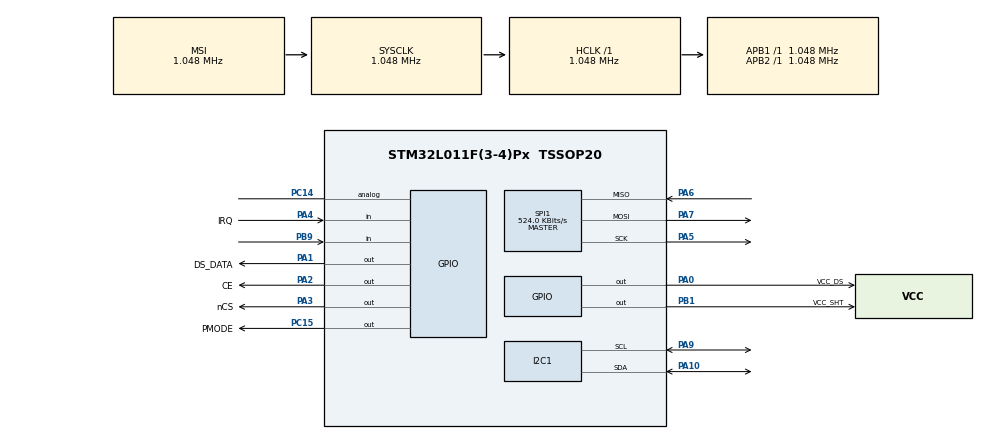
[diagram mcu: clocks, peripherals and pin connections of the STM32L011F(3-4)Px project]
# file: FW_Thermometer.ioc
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CRC.CRCLength=CRC_POLYLENGTH_8B
CRC.DefaultInitValueUse=DEFAULT_INIT_VALUE_DISABLE
CRC.DefaultPolynomialUse=DEFAULT_POLYNOMIAL_DISABLE
CRC.GeneratingPolynomial=X5+X4+X0
CRC.InitValue=0x0
CRC.OutputDataInversionMode=CRC_OUTPUTDATA_INVERSION_DISABLE
I2C1.Timing=0x00000202
Mcu.Family=STM32L0
Mcu.Name=STM32L011F(3-4)Px
Mcu.Package=TSSOP20
NVIC.RTC_IRQn=true\:0\:0\:false\:false\:true\:true\:true\:true
PA0-CK_IN.GPIO_Label=VCC_DS
PA0-CK_IN.Signal=GPIO_Output
PA1.GPIO_Label=DS_DATA
PA1.Signal=GPIO_Output
PA10.GPIO_Pu=GPIO_PULLUP
PA10.Mode=I2C
PA10.Signal=I2C1_SDA
PA13.Mode=Serial_Wire
PA13.Signal=SYS_SWDIO
PA14.Mode=Serial_Wire
PA14.Signal=SYS_SWCLK
PA2.GPIO_Label=CE
PA2.Signal=GPIO_Output
PA3.GPIO_Label=nCS
PA3.Signal=GPIO_Output
PA4.GPIO_Label=IRQ
PA4.Signal=GPIO_Input
PA5.Mode=Full_Duplex_Master
PA5.Signal=SPI1_SCK
PA6.Mode=Full_Duplex_Master
PA6.Signal=SPI1_MISO
PA7.Mode=Full_Duplex_Master
PA7.Signal=SPI1_MOSI
PA9.GPIO_Pu=GPIO_PULLUP
PA9.Mode=I2C
PA9.Signal=I2C1_SCL
PB1.GPIO_Label=VCC_SHT
PB1.Signal=GPIO_Output
PB9-BOOT0.Signal=GPIO_Input
PC14-OSC32_IN.Signal=GPIO_Analog
PC15-OSC32_OUT.GPIO_Label=PMODE
PC15-OSC32_OUT.Signal=GPIO_Output
ProjectManager.HeapSize=0x200
ProjectManager.StackSize=0x400
ProjectManager.TargetToolchain=STM32CubeIDE
RCC.ADCFreq_Value=4000000
RCC.AHBFreq_Value=1048000
RCC.APB1Freq_Value=1048000
RCC.APB1TimFreq_Value=1048000
RCC.APB2Freq_Value=1048000
RCC.APB2TimFreq_Value=1048000
RCC.HCLKFreq_Value=1048000
RCC.HSE_VALUE=8000000
RCC.HSI16_VALUE=16000000
RCC.HSIRCDiv=4
RCC.HSI_VALUE=4000000
RCC.LSE_VALUE=32768
RCC.MSIClockRange=RCC_MSIRANGE_4
RCC.MSI_VALUE=1048000
RCC.PWR_Regulator_Voltage_Scale=PWR_REGULATOR_VOLTAGE_SCALE2
RCC.SYSCLKFreq_VALUE=1048000
RCC.VCOOutputFreq_Value=12000000
RCC.VDD_VALUE=2
RTC.WakeUpClock-WakeUp=RTC_WAKEUPCLOCK_CK_SPRE_16BITS
RTC.WakeUpCounter-WakeUp=600
SPI1.CalculateBaudRate=524.0 KBits/s
SPI1.Direction=SPI_DIRECTION_2LINES
SPI1.Mode=SPI_MODE_MASTER
SPI1.VirtualType=VM_MASTER
SYS.PVDLevel=PWR_PVDLEVEL_2
VP_CRC_VS_CRC.Mode=CRC_Activate
VP_RTC_VS_RTC_Activate.Mode=RTC_Enabled
VP_RTC_VS_RTC_WakeUp_intern.Mode=WakeUp
VP_SYS_V_PVD_IN.Mode=Mode_PVD_Int
board=custom

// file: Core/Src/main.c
/* USER CODE BEGIN Header */
/**
  ******************************************************************************
  * @file           : main.c
  * @brief          : Main program body
  ******************************************************************************
  * @attention
  *
  * <h2><center>&copy; Copyright (c) 2019 STMicroelectronics.
  * All rights reserved.</center></h2>
  *
  * This software component is licensed by ST under BSD 3-Clause license,
  * the "License"; You may not use this file except in compliance with the
  * License. You may obtain a copy of the License at:
  *                        opensource.org/licenses/BSD-3-Clause
  *
  ******************************************************************************
  */
/*
 * !!!!! BUG IN CUBE CODE GENERATOR !!!!!!!!!!!!
 * !!!!! BUG IN CUBE CODE GENERATOR !!!!!!!!!!!!
 * !!!!! BUG IN CUBE CODE GENERATOR !!!!!!!!!!!!
 * !!!!! BUG IN CUBE CODE GENERATOR !!!!!!!!!!!!
 * !!!!! BUG IN CUBE CODE GENERATOR !!!!!!!!!!!!
 * It looks like the file system_stm32l0xx.c is copied twice to te project folders
 * whenever regenerating code, and therefore the generated code does not compile.
 * Solution: Delete it form ./Core/Src after every code regeneration (whenever
 * using CubeMX configuration wizzard)
 *
 *
 * */

/* USER CODE END Header */
#include "main.h"

/* USER CODE BEGIN Includes */
#include "nrf24.h"
#include <stdio.h>
#include <stdlib.h>
/* USER CODE END Includes */

 CRC_HandleTypeDef hcrc;

I2C_HandleTypeDef hi2c1;

RTC_HandleTypeDef hrtc;

SPI_HandleTypeDef hspi1;

void SystemClock_Config(void);
static void MX_GPIO_Init(void);
static void MX_CRC_Init(void);
static void MX_I2C1_Init(void);
static void MX_RTC_Init(void);
static void MX_SPI1_Init(void);

/* USER CODE BEGIN 0 */

#define SHT21_ADDRESS 0x80  //I2C address for the sensor
#define TRIGGER_TEMP_MEASURE_NOHOLD  0xF3
#define TRIGGER_HUMD_MEASURE_NOHOLD  0xF5

int16_t GetSHT21measurement(uint8_t command)
{
	uint8_t i2cmsg[3], crc;
	uint32_t	t1;
	int16_t result;
	static int transmission_counter;
	HAL_StatusTypeDef	i2cStatus = HAL_ERROR;

	//Measure
	i2cmsg[0]=command;
	i2cStatus = HAL_I2C_Master_Transmit(&hi2c1, SHT21_ADDRESS, i2cmsg, 1, 10);
	//Temperature conversion takes up to 85ms, while humidity 29ms.
	t1 = HAL_GetTick();
	transmission_counter=0;
	i2cStatus = HAL_ERROR;
	while (i2cStatus != HAL_OK)
	{
		HAL_Delay(5);
		i2cStatus = HAL_I2C_Master_Receive(&hi2c1, SHT21_ADDRESS, i2cmsg, 3, 10);
		if (i2cStatus == HAL_OK)
		{
			transmission_counter++;
			MX_CRC_Init();
			crc = HAL_CRC_Calculate (&hcrc, (uint32_t*)i2cmsg, 2);
			HAL_CRC_DeInit(&hcrc);
			if (crc == i2cmsg[2])	// if crc OK, continue, else repeat transmission
			{
				break;
			}
			else
			{
				i2cStatus = HAL_ERROR;
			}
		}
		if (HAL_GetTick()-t1>150) break;
	}
	result=((int)i2cmsg[0]<<8) | (i2cmsg[1] & (~0x03));

	if (i2cStatus != HAL_OK) result = 0xFFFF;

	return result;
}

uint16_t i16Temp, i16Hum;
//Temperature conversion (for debug): -46.85+175.72*i16Temp/65536
//Relative humidity conv.(for debug): -6+125*i16Hum/65536.0
void ReadSHT21(void)
{
	//Turn on power supply for the SHT11 sensor
	HAL_GPIO_WritePin(VCC_SHT_GPIO_Port,VCC_SHT_Pin,GPIO_PIN_SET);
  MX_I2C1_Init();
	HAL_Delay(20);	//Startup takes a minimum of 15ms

	i16Temp = GetSHT21measurement(TRIGGER_TEMP_MEASURE_NOHOLD);
	i16Hum = GetSHT21measurement(TRIGGER_HUMD_MEASURE_NOHOLD);
	//Measure humidity

	//Turn off I2C and SHT power
	HAL_I2C_DeInit(&hi2c1);
	//HAL_GPIO_WritePin(VCC_SHT_GPIO_Port,VCC_SHT_Pin,GPIO_PIN_RESET);
	HAL_GPIO_DeInit(VCC_SHT_GPIO_Port, VCC_SHT_Pin);	//Should go into Analog input mode
}

uint8_t Vdd;
void MeasureVDD(void)
{
	Vdd=19;

	PWR_PVDTypeDef	PVDcfg;
	PVDcfg.Mode=PWR_PVD_MODE_NORMAL;	//No event, no interrupt?
	PVDcfg.PVDLevel=PWR_PVDLEVEL_0;	//0=1.9V, 1=2.1V, 2=2.3V, ... 6=3.1V, 7=ext

	HAL_PWR_ConfigPVD(&PVDcfg);
	HAL_PWR_EnablePVD();

	if (!__HAL_PWR_GET_FLAG(PWR_FLAG_PVDO) )
	{
		PVDcfg.PVDLevel=PWR_PVDLEVEL_1;	//0=1.9V, 1=2.1V, 2=2.3V, ... 6=3.1V, 7=ext
		HAL_PWR_ConfigPVD(&PVDcfg);
		Vdd+=2;
		if (!__HAL_PWR_GET_FLAG(PWR_FLAG_PVDO) )
		{
			PVDcfg.PVDLevel=PWR_PVDLEVEL_2;	//0=1.9V, 1=2.1V, 2=2.3V, ... 6=3.1V, 7=ext
			HAL_PWR_ConfigPVD(&PVDcfg);
			Vdd+=2;
			if (!__HAL_PWR_GET_FLAG(PWR_FLAG_PVDO) )
			{
				PVDcfg.PVDLevel=PWR_PVDLEVEL_3;	//0=1.9V, 1=2.1V, 2=2.3V, ... 6=3.1V, 7=ext
				HAL_PWR_ConfigPVD(&PVDcfg);
				Vdd+=2;
				if (!__HAL_PWR_GET_FLAG(PWR_FLAG_PVDO) )
				{
					PVDcfg.PVDLevel=PWR_PVDLEVEL_4;	//0=1.9V, 1=2.1V, 2=2.3V, ... 6=3.1V, 7=ext
					HAL_PWR_ConfigPVD(&PVDcfg);
					Vdd+=2;
					if (!__HAL_PWR_GET_FLAG(PWR_FLAG_PVDO) )
					{
						PVDcfg.PVDLevel=PWR_PVDLEVEL_5;	//0=1.9V, 1=2.1V, 2=2.3V, ... 6=3.1V, 7=ext
						HAL_PWR_ConfigPVD(&PVDcfg);
						Vdd+=2;
						if (!__HAL_PWR_GET_FLAG(PWR_FLAG_PVDO) )
						{
							PVDcfg.PVDLevel=PWR_PVDLEVEL_6;	//0=1.9V, 1=2.1V, 2=2.3V, ... 6=3.1V, 7=ext
							HAL_PWR_ConfigPVD(&PVDcfg);
							Vdd+=2;
						}
					}
				}
			}
		}
	}
	HAL_PWR_DisablePVD();
}

uint8_t tx_address[5] = NRF24_TX_ADDRESS;
uint8_t rx_address[5] = NRF24_RX_ADDRESS;

uint8_t TransmitPacket(uint8_t ID, uint16_t data, uint8_t rtrCount)
{
	RTC_TimeTypeDef sTime;
	uint8_t transmissionStatus;
	uint8_t data_array[5];
	uint32_t t1;

	data_array[0] = ID;
	data_array[1] = data>>8;
	data_array[2] = data;
	data_array[3] = Vdd;
	data_array[4] = rtrCount;

	nrf24_send(data_array);
	t1 = HAL_GetTick();
	while(nrf24_isSending())
	{
		if ( (HAL_GetTick()-t1) > 200 ) break;	//Needed if NRF disconnected
	}
	transmissionStatus = nrf24_lastMessageStatus();
	rtrCount = nrf24_retransmissionCount();

	if(transmissionStatus == NRF24_TRANSMISSON_OK)
	{
		//All OK. Nothing to do.
	}
	else if(transmissionStatus == NRF24_MESSAGE_LOST)
	{
		//In case of error wait 100 to 200 ms and try again.
		//If it fails again, the packet will be permanently lost.
		HAL_GPIO_WritePin(VCC_DS_GPIO_Port,VCC_DS_Pin|DS_DATA_Pin,GPIO_PIN_RESET);
//		srand(HAL_GetTick());
//		HAL_Delay((rand() % 100) + 100); //randomize	//Random functions from GNU library take about 5kB of FLASH!!! A huge problem for such a small processor!
		HAL_RTC_GetTime(&hrtc, &sTime, RTC_FORMAT_BIN);	//Use RTC function to hopefully achieve some kind of randomization
		HAL_Delay((((sTime.Hours*3600+sTime.Minutes*60+sTime.Seconds)*256+sTime.SubSeconds) % 100) + 100); //randomize
		HAL_GPIO_WritePin(VCC_DS_GPIO_Port,VCC_DS_Pin|DS_DATA_Pin,GPIO_PIN_SET);
		nrf24_init();
		nrf24_config(2,5); 	// Channel #2 , payload length: 4
		nrf24_tx_address(tx_address);// Set the device addresses
		nrf24_rx_address(rx_address);
		nrf24_send(data_array);
		t1 = HAL_GetTick();
		while(nrf24_isSending())
		{
			if ( (HAL_GetTick()-t1) > 200 ) break;	//Needed if NRF disconnected
		}
		rtrCount = nrf24_retransmissionCount()+15;
	}
	else
	{
		//TODO: check if there can be any other kind of status
	}

	return rtrCount;
}

void TransmitData(void)
{
	static uint8_t retransmissionCount=0;	//always send retransmission count of the previous transmission

	HAL_GPIO_WritePin(VCC_DS_GPIO_Port,VCC_DS_Pin|DS_DATA_Pin,GPIO_PIN_SET);
	MX_SPI1_Init();

	nrf24_init();
	nrf24_config(NRF24_RF_CHANNEL,5); 	// Channel defined in main.h , payload length: 5
	nrf24_tx_address(tx_address);// Set the device addresses
	nrf24_rx_address(rx_address);

	retransmissionCount = TransmitPacket(SENSOR_ID(STYPE_Tsht21), i16Temp, retransmissionCount);
	retransmissionCount = TransmitPacket(SENSOR_ID(STYPE_Hsht21), i16Hum, retransmissionCount);

	HAL_GPIO_WritePin(VCC_DS_GPIO_Port,VCC_DS_Pin|DS_DATA_Pin,GPIO_PIN_RESET);
	HAL_SPI_DeInit(&hspi1);
	HAL_GPIO_DeInit(CE_GPIO_Port, CE_Pin);	//Should go into Analog input mode
	HAL_GPIO_DeInit(nCS_GPIO_Port, nCS_Pin);	//Should go into Analog input mode
	HAL_GPIO_DeInit(IRQ_GPIO_Port, IRQ_Pin);	//Should go into Analog input mode

}

void Sleep(void)
{
		HAL_PWR_EnterSTOPMode(PWR_LOWPOWERREGULATOR_ON,PWR_STOPENTRY_WFE);
		//Sleeping...
	   __HAL_RTC_WAKEUPTIMER_CLEAR_FLAG(&hrtc, RTC_FLAG_WUTF);
		SystemClock_Config();
//	MX_RTC_Init();	//Test if this is really needed
}

/* USER CODE END 0 */

int main(void)
{

  /* MCU Configuration--------------------------------------------------------*/

  /* Reset of all peripherals, Initializes the Flash interface and the Systick. */
  HAL_Init();

  /* Configure the system clock */
  SystemClock_Config();

  /* USER CODE BEGIN SysInit */

	#if 0		//Disable standard startup - turn on each thing when needed, then off again
  /* USER CODE END SysInit */

  /* Initialize all configured peripherals */
  MX_GPIO_Init();
  MX_CRC_Init();
  MX_I2C1_Init();
  MX_RTC_Init();
  MX_SPI1_Init();
  /* USER CODE BEGIN 2 */

	#endif

	HAL_GPIO_DeInit(PMODE_GPIO_Port, PMODE_Pin);	//Should go into Analog input mode
	HAL_GPIO_DeInit(VCC_DS_GPIO_Port, VCC_DS_Pin);	//Should go into Analog input mode
	HAL_GPIO_DeInit(DS_DATA_GPIO_Port, DS_DATA_Pin);	//Should go into Analog input mode

	MX_RTC_Init();
	HAL_PWREx_EnableUltraLowPower(); // Ultra low power mode
	HAL_PWREx_EnableFastWakeUp(); // Fast wake-up for ultra low power mode
	__HAL_RTC_WAKEUPTIMER_EXTI_DISABLE_IT();
	__HAL_RTC_WAKEUPTIMER_EXTI_ENABLE_EVENT();

  /* USER CODE END 2 */

  /* Infinite loop */
  /* USER CODE BEGIN WHILE */
  while (1)
  {
		MX_GPIO_Init();
		ReadSHT21();
		MeasureVDD();		//TODO: Test. I dont think it is actually working.
		TransmitData();
#if (!TESTING)
		Sleep();
#else
		HAL_Delay(5000);
#endif
    /* USER CODE END WHILE */

  }
}

void SystemClock_Config(void)
{
  RCC_OscInitTypeDef RCC_OscInitStruct = {0};
  RCC_ClkInitTypeDef RCC_ClkInitStruct = {0};
  RCC_PeriphCLKInitTypeDef PeriphClkInit = {0};

  /** Configure the main internal regulator output voltage
  */
  __HAL_PWR_VOLTAGESCALING_CONFIG(PWR_REGULATOR_VOLTAGE_SCALE2);

  /** Initializes the RCC Oscillators according to the specified parameters
  * in the RCC_OscInitTypeDef structure.
  */
  RCC_OscInitStruct.OscillatorType = RCC_OSCILLATORTYPE_LSI|RCC_OSCILLATORTYPE_MSI;
  RCC_OscInitStruct.LSIState = RCC_LSI_ON;
  RCC_OscInitStruct.MSIState = RCC_MSI_ON;
  RCC_OscInitStruct.MSICalibrationValue = 0;
  RCC_OscInitStruct.MSIClockRange = RCC_MSIRANGE_4;
  RCC_OscInitStruct.PLL.PLLState = RCC_PLL_NONE;
  if (HAL_RCC_OscConfig(&RCC_OscInitStruct) != HAL_OK)
  {
    Error_Handler();
  }

  /** Initializes the CPU, AHB and APB buses clocks
  */
  RCC_ClkInitStruct.ClockType = RCC_CLOCKTYPE_HCLK|RCC_CLOCKTYPE_SYSCLK
                              |RCC_CLOCKTYPE_PCLK1|RCC_CLOCKTYPE_PCLK2;
  RCC_ClkInitStruct.SYSCLKSource = RCC_SYSCLKSOURCE_MSI;
  RCC_ClkInitStruct.AHBCLKDivider = RCC_SYSCLK_DIV1;
  RCC_ClkInitStruct.APB1CLKDivider = RCC_HCLK_DIV1;
  RCC_ClkInitStruct.APB2CLKDivider = RCC_HCLK_DIV1;

  if (HAL_RCC_ClockConfig(&RCC_ClkInitStruct, FLASH_LATENCY_0) != HAL_OK)
  {
    Error_Handler();
  }
  PeriphClkInit.PeriphClockSelection = RCC_PERIPHCLK_I2C1|RCC_PERIPHCLK_RTC;
  PeriphClkInit.I2c1ClockSelection = RCC_I2C1CLKSOURCE_PCLK1;
  PeriphClkInit.RTCClockSelection = RCC_RTCCLKSOURCE_LSI;
  if (HAL_RCCEx_PeriphCLKConfig(&PeriphClkInit) != HAL_OK)
  {
    Error_Handler();
  }
}

static void MX_CRC_Init(void)
{

  hcrc.Instance = CRC;
  hcrc.Init.DefaultPolynomialUse = DEFAULT_POLYNOMIAL_DISABLE;
  hcrc.Init.DefaultInitValueUse = DEFAULT_INIT_VALUE_DISABLE;
  hcrc.Init.GeneratingPolynomial = 49;
  hcrc.Init.CRCLength = CRC_POLYLENGTH_8B;
  hcrc.Init.InitValue = 0x0;
  hcrc.Init.InputDataInversionMode = CRC_INPUTDATA_INVERSION_NONE;
  hcrc.Init.OutputDataInversionMode = CRC_OUTPUTDATA_INVERSION_DISABLE;
  hcrc.InputDataFormat = CRC_INPUTDATA_FORMAT_BYTES;
  if (HAL_CRC_Init(&hcrc) != HAL_OK)
  {
    Error_Handler();
  }

}

static void MX_I2C1_Init(void)
{

  hi2c1.Instance = I2C1;
  hi2c1.Init.Timing = 0x00000202;
  hi2c1.Init.OwnAddress1 = 0;
  hi2c1.Init.AddressingMode = I2C_ADDRESSINGMODE_7BIT;
  hi2c1.Init.DualAddressMode = I2C_DUALADDRESS_DISABLE;
  hi2c1.Init.OwnAddress2 = 0;
  hi2c1.Init.OwnAddress2Masks = I2C_OA2_NOMASK;
  hi2c1.Init.GeneralCallMode = I2C_GENERALCALL_DISABLE;
  hi2c1.Init.NoStretchMode = I2C_NOSTRETCH_DISABLE;
  if (HAL_I2C_Init(&hi2c1) != HAL_OK)
  {
    Error_Handler();
  }

  /** Configure Analogue filter
  */
  if (HAL_I2CEx_ConfigAnalogFilter(&hi2c1, I2C_ANALOGFILTER_ENABLE) != HAL_OK)
  {
    Error_Handler();
  }

  /** Configure Digital filter
  */
  if (HAL_I2CEx_ConfigDigitalFilter(&hi2c1, 0) != HAL_OK)
  {
    Error_Handler();
  }

}

static void MX_RTC_Init(void)
{

  /** Initialize RTC Only
  */
  hrtc.Instance = RTC;
  hrtc.Init.HourFormat = RTC_HOURFORMAT_24;
  hrtc.Init.AsynchPrediv = 127;
  hrtc.Init.SynchPrediv = 255;
  hrtc.Init.OutPut = RTC_OUTPUT_DISABLE;
  hrtc.Init.OutPutRemap = RTC_OUTPUT_REMAP_NONE;
  hrtc.Init.OutPutPolarity = RTC_OUTPUT_POLARITY_HIGH;
  hrtc.Init.OutPutType = RTC_OUTPUT_TYPE_OPENDRAIN;
  if (HAL_RTC_Init(&hrtc) != HAL_OK)
  {
    Error_Handler();
  }

  /** Enable the WakeUp
  */
  if (HAL_RTCEx_SetWakeUpTimer_IT(&hrtc, 600, RTC_WAKEUPCLOCK_CK_SPRE_16BITS) != HAL_OK)
  {
    Error_Handler();
  }

}

static void MX_SPI1_Init(void)
{

  /* SPI1 parameter configuration*/
  hspi1.Instance = SPI1;
  hspi1.Init.Mode = SPI_MODE_MASTER;
  hspi1.Init.Direction = SPI_DIRECTION_2LINES;
  hspi1.Init.DataSize = SPI_DATASIZE_8BIT;
  hspi1.Init.CLKPolarity = SPI_POLARITY_LOW;
  hspi1.Init.CLKPhase = SPI_PHASE_1EDGE;
  hspi1.Init.NSS = SPI_NSS_SOFT;
  hspi1.Init.BaudRatePrescaler = SPI_BAUDRATEPRESCALER_2;
  hspi1.Init.FirstBit = SPI_FIRSTBIT_MSB;
  hspi1.Init.TIMode = SPI_TIMODE_DISABLE;
  hspi1.Init.CRCCalculation = SPI_CRCCALCULATION_DISABLE;
  hspi1.Init.CRCPolynomial = 7;
  if (HAL_SPI_Init(&hspi1) != HAL_OK)
  {
    Error_Handler();
  }

}

static void MX_GPIO_Init(void)
{
  GPIO_InitTypeDef GPIO_InitStruct = {0};

  /* GPIO Ports Clock Enable */
  __HAL_RCC_GPIOB_CLK_ENABLE();
  __HAL_RCC_GPIOC_CLK_ENABLE();
  __HAL_RCC_GPIOA_CLK_ENABLE();

  /*Configure GPIO pin Output Level */
  HAL_GPIO_WritePin(PMODE_GPIO_Port, PMODE_Pin, GPIO_PIN_RESET);

  /*Configure GPIO pin Output Level */
  HAL_GPIO_WritePin(GPIOA, VCC_DS_Pin|DS_DATA_Pin|CE_Pin|nCS_Pin, GPIO_PIN_RESET);

  /*Configure GPIO pin Output Level */
  HAL_GPIO_WritePin(VCC_SHT_GPIO_Port, VCC_SHT_Pin, GPIO_PIN_RESET);

  /*Configure GPIO pin : PB9 */
  GPIO_InitStruct.Pin = GPIO_PIN_9;
  GPIO_InitStruct.Mode = GPIO_MODE_INPUT;
  GPIO_InitStruct.Pull = GPIO_NOPULL;
  HAL_GPIO_Init(GPIOB, &GPIO_InitStruct);

  /*Configure GPIO pin : PC14 */
  GPIO_InitStruct.Pin = GPIO_PIN_14;
  GPIO_InitStruct.Mode = GPIO_MODE_ANALOG;
  GPIO_InitStruct.Pull = GPIO_NOPULL;
  HAL_GPIO_Init(GPIOC, &GPIO_InitStruct);

  /*Configure GPIO pin : PMODE_Pin */
  GPIO_InitStruct.Pin = PMODE_Pin;
  GPIO_InitStruct.Mode = GPIO_MODE_OUTPUT_PP;
  GPIO_InitStruct.Pull = GPIO_NOPULL;
  GPIO_InitStruct.Speed = GPIO_SPEED_FREQ_LOW;
  HAL_GPIO_Init(PMODE_GPIO_Port, &GPIO_InitStruct);

  /*Configure GPIO pins : VCC_DS_Pin DS_DATA_Pin CE_Pin nCS_Pin */
  GPIO_InitStruct.Pin = VCC_DS_Pin|DS_DATA_Pin|CE_Pin|nCS_Pin;
  GPIO_InitStruct.Mode = GPIO_MODE_OUTPUT_PP;
  GPIO_InitStruct.Pull = GPIO_NOPULL;
  GPIO_InitStruct.Speed = GPIO_SPEED_FREQ_LOW;
  HAL_GPIO_Init(GPIOA, &GPIO_InitStruct);

  /*Configure GPIO pin : IRQ_Pin */
  GPIO_InitStruct.Pin = IRQ_Pin;
  GPIO_InitStruct.Mode = GPIO_MODE_INPUT;
  GPIO_InitStruct.Pull = GPIO_NOPULL;
  HAL_GPIO_Init(IRQ_GPIO_Port, &GPIO_InitStruct);

  /*Configure GPIO pin : VCC_SHT_Pin */
  GPIO_InitStruct.Pin = VCC_SHT_Pin;
  GPIO_InitStruct.Mode = GPIO_MODE_OUTPUT_PP;
  GPIO_InitStruct.Pull = GPIO_NOPULL;
  GPIO_InitStruct.Speed = GPIO_SPEED_FREQ_LOW;
  HAL_GPIO_Init(VCC_SHT_GPIO_Port, &GPIO_InitStruct);

}

void Error_Handler(void)
{
}
